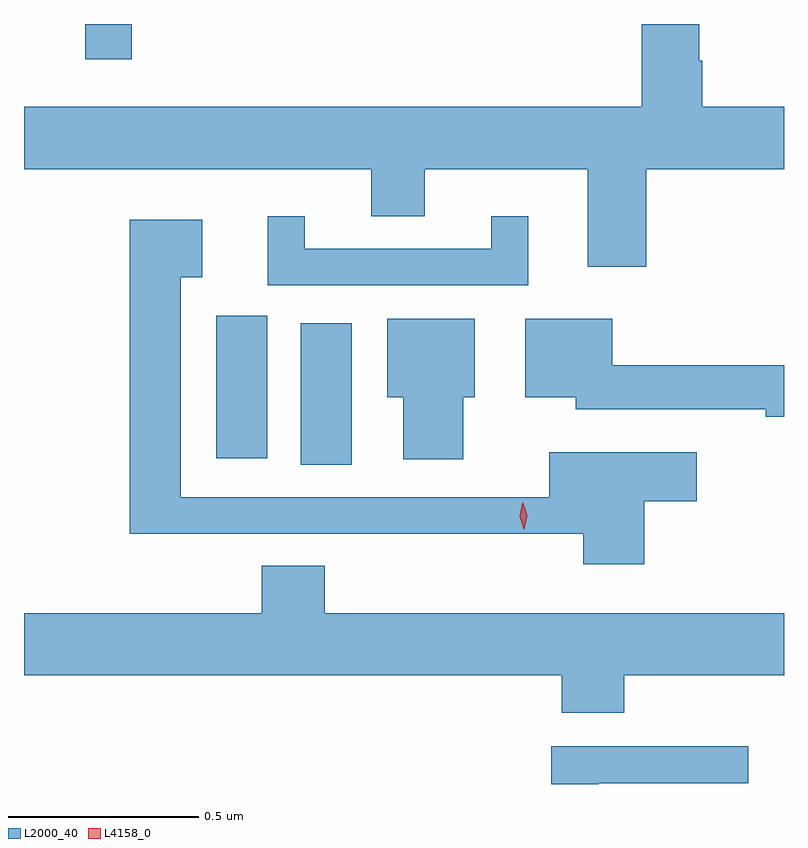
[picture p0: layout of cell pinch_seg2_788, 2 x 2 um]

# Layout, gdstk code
import gdstk
lib = gdstk.Library(unit=1e-6, precision=1e-09)
def R(c, l, rs):  # rectangles x0, y0, x1, y1
    for r in rs: c.add(gdstk.rectangle(r[:2], r[2:], *l))
def P(c, l, *ps):  # polygons
    for p in ps: c.add(gdstk.Polygon(p, *l))
L2000_40 = (2000, 40)
L4158_0 = (4158, 0)

pinch_seg2_788 = lib.new_cell('pinch_seg2_788')
R(pinch_seg2_788, L2000_40, [(664.412,642.862,664.546,643.234), (664.19,642.879,664.324,643.254), (663.845,643.929,663.967,644.022)])
P(pinch_seg2_788, L2000_40, [(665.321,643.64),(665.684,643.64),(665.684,643.804),(665.469,643.804),(665.469,643.925),(665.461,643.925),(665.461,644.022),(665.309,644.022),(665.309,643.804),(663.684,643.804),(663.684,643.64),(664.598,643.64),(664.598,643.516),(664.738,643.516),(664.738,643.64),(665.168,643.64),(665.168,643.383),(665.321,643.383)],
  [(665.011,643.516),(664.913,643.516),(664.913,643.431),(664.423,643.431),(664.423,643.516),(664.325,643.516),(664.325,643.335),(665.011,643.335)],
  [(665.316,642.766),(665.455,642.766),(665.455,642.895),(665.066,642.895),(665.066,642.777),(664.096,642.777),(664.096,643.355),(664.153,643.355),(664.153,643.507),(663.962,643.507),(663.962,642.68),(664.192,642.68),(664.192,642.681),(664.558,642.681),(664.558,642.68),(665.156,642.68),(665.156,642.6),(665.316,642.6)],
  [(664.84,643.04),(664.87,643.04),(664.87,643.246),(664.64,643.246),(664.64,643.04),(664.682,643.04),(664.682,642.876),(664.84,642.876)],
  [(665.684,643.124),(665.232,643.124),(665.232,643.246),(665.003,643.246),(665.003,643.04),(665.136,643.04),(665.136,643.008),(665.636,643.008),(665.636,642.988),(665.684,642.988)],
  [(665.264,642.308),(665.684,642.308),(665.684,642.472),(664.475,642.472),(664.475,642.596),(664.31,642.596),(664.31,642.472),(663.684,642.472),(663.684,642.308),(665.099,642.308),(665.099,642.209),(665.264,642.209)],
  [(665.197,642.024),(665.59,642.024),(665.59,642.122),(665.072,642.122),(665.072,642.022),(665.197,642.022)])
P(pinch_seg2_788, L4158_0, [(664.999,642.692),(664.999,642.692),(664.988,642.728),(664.997,642.764),(664.997,642.764),(664.997,642.764),(665.008,642.729),(665,642.692)])

lib.write_gds('pinch_seg2_788.gds')
